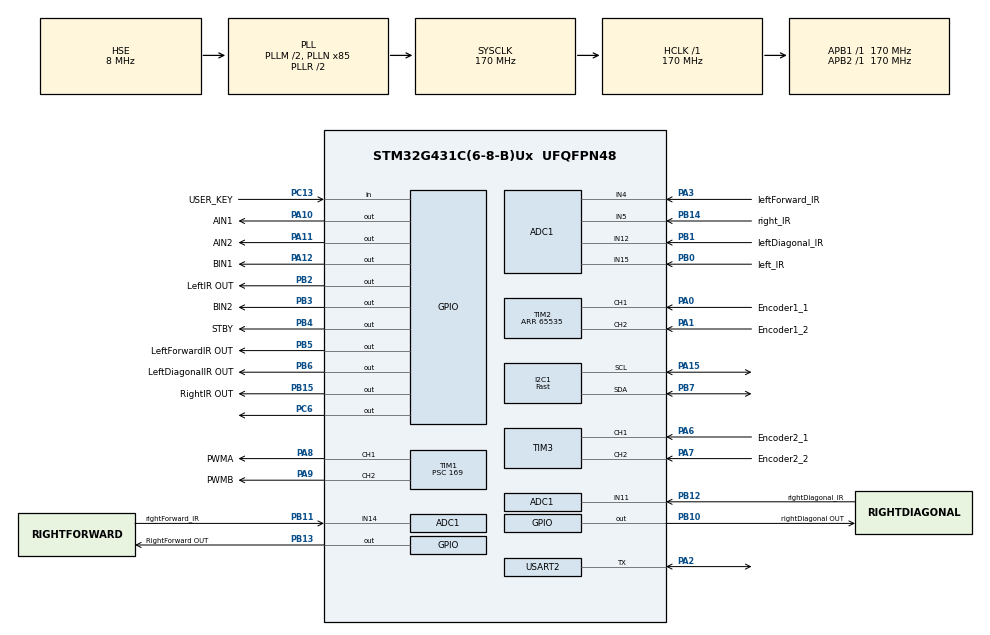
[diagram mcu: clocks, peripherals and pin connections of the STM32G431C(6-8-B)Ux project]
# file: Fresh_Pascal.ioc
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ADC1.Channel-0\#ChannelRegularConversion=ADC_CHANNEL_5
ADC1.NbrOfConversionFlag=1
ADC1.OffsetNumber-0\#ChannelRegularConversion=ADC_OFFSET_NONE
ADC1.OversamplingMode=DISABLE
ADC1.Rank-0\#ChannelRegularConversion=1
ADC1.SamplingTime-0\#ChannelRegularConversion=ADC_SAMPLETIME_47CYCLES_5
ADC1.master=1
I2C1.I2C_Speed_Mode=I2C_Fast
I2C1.Timing=0x40621236
IWDG.Prescaler=IWDG_PRESCALER_32
IWDG.Reload=400
Mcu.Family=STM32G4
Mcu.Name=STM32G431C(6-8-B)Ux
Mcu.Package=UFQFPN48
NVIC.PriorityGroup=NVIC_PRIORITYGROUP_4
NVIC.TIM6_DAC_IRQn=true\:0\:0\:false\:false\:true\:true\:true\:true
PA0.GPIO_Label=Encoder1_1
PA0.GPIO_PuPd=GPIO_PULLDOWN
PA0.Signal=S_TIM2_CH1
PA1.GPIO_Label=Encoder1_2
PA1.GPIO_PuPd=GPIO_PULLDOWN
PA1.Signal=S_TIM2_CH2
PA10.GPIO_Label=AIN1
PA10.Signal=GPIO_Output
PA11.GPIO_Label=AIN2
PA11.Signal=GPIO_Output
PA12.GPIO_Label=BIN1
PA12.Signal=GPIO_Output
PA13.Mode=Serial_Wire
PA13.Signal=SYS_JTMS-SWDIO
PA14.Mode=Serial_Wire
PA14.Signal=SYS_JTCK-SWCLK
PA15.GPIO_Speed=GPIO_SPEED_FREQ_HIGH
PA15.Mode=I2C
PA15.Signal=I2C1_SCL
PA2.Mode=Half_duplex(single_wire_mode)
PA2.Signal=USART2_TX
PA3.GPIO_Label=leftForward_IR
PA3.Mode=IN4-Single-Ended
PA3.Signal=ADC1_IN4
PA6.GPIO_Label=Encoder2_1
PA6.GPIO_PuPd=GPIO_PULLDOWN
PA6.Signal=S_TIM3_CH1
PA7.GPIO_Label=Encoder2_2
PA7.GPIO_PuPd=GPIO_PULLDOWN
PA7.Signal=S_TIM3_CH2
PA8.GPIO_Label=PWMA
PA8.Signal=S_TIM1_CH1
PA9.GPIO_Label=PWMB
PA9.Signal=S_TIM1_CH2
PB0.GPIO_Label=left_IR
PB0.Mode=IN15-Single-Ended
PB0.Signal=ADC1_IN15
PB1.GPIO_Label=leftDiagonal_IR
PB1.Mode=IN12-Single-Ended
PB1.Signal=ADC1_IN12
PB10.GPIO_Label=rightDiagonal OUT
PB10.GPIO_PuPd=GPIO_PULLDOWN
PB10.Signal=GPIO_Output
PB11.GPIO_Label=rightForward_IR
PB11.Mode=IN14-Single-Ended
PB11.Signal=ADC1_IN14
PB12.GPIO_Label=rightDiagonal_IR
PB12.Mode=IN11-Single-Ended
PB12.Signal=ADC1_IN11
PB13.GPIO_Label=RightForward OUT
PB13.GPIO_PuPd=GPIO_PULLDOWN
PB13.Signal=GPIO_Output
PB14.GPIO_Label=right_IR
PB14.Mode=IN5-Single-Ended
PB14.Signal=ADC1_IN5
PB15.GPIO_Label=RightIR OUT
PB15.GPIO_PuPd=GPIO_PULLDOWN
PB15.Signal=GPIO_Output
PB2.GPIO_Label=LeftIR OUT
PB2.GPIO_PuPd=GPIO_PULLDOWN
PB2.Signal=GPIO_Output
PB3.GPIO_Label=BIN2
PB3.Signal=GPIO_Output
PB4.GPIO_Label=STBY
PB4.Signal=GPIO_Output
PB5.GPIO_Label=LeftForwardIR OUT
PB5.GPIO_PuPd=GPIO_PULLDOWN
PB5.Signal=GPIO_Output
PB6.GPIO_Label=LeftDiagonalIR OUT
PB6.GPIO_PuPd=GPIO_PULLDOWN
PB6.Signal=GPIO_Output
PB7.GPIO_Speed=GPIO_SPEED_FREQ_HIGH
PB7.Mode=I2C
PB7.Signal=I2C1_SDA
PC13.GPIO_Label=USER_KEY
PC13.GPIO_PuPd=GPIO_PULLDOWN
PC13.Signal=GPIO_Input
PC6.Signal=GPIO_Output
PF0-OSC_IN.Mode=HSE-External-Oscillator
PF0-OSC_IN.Signal=RCC_OSC_IN
PF1-OSC_OUT.Mode=HSE-External-Oscillator
PF1-OSC_OUT.Signal=RCC_OSC_OUT
ProjectManager.HeapSize=0x200
ProjectManager.StackSize=0x400
ProjectManager.TargetToolchain=STM32CubeIDE
RCC.ADC12Freq_Value=170000000
RCC.AHBFreq_Value=170000000
RCC.APB1Freq_Value=170000000
RCC.APB1TimFreq_Value=170000000
RCC.APB2Freq_Value=170000000
RCC.APB2TimFreq_Value=170000000
RCC.CortexFreq_Value=170000000
RCC.EXTERNAL_CLOCK_VALUE=12288000
RCC.HCLKFreq_Value=170000000
RCC.HSE_VALUE=8000000
RCC.HSI48_VALUE=48000000
RCC.HSI_VALUE=16000000
RCC.LSE_VALUE=32768
RCC.PLLM=RCC_PLLM_DIV2
RCC.PLLN=85
RCC.PLLSourceVirtual=RCC_PLLSOURCE_HSE
RCC.SYSCLKFreq_VALUE=170000000
RCC.SYSCLKSource=RCC_SYSCLKSOURCE_PLLCLK
RCC.USBFreq_Value=170000000
RCC.VCOOutputFreq_Value=340000000
SH.S_TIM1_CH1.0=TIM1_CH1,PWM Generation1 CH1
SH.S_TIM1_CH2.0=TIM1_CH2,PWM Generation2 CH2
SH.S_TIM2_CH1.0=TIM2_CH1,Encoder_Interface
SH.S_TIM2_CH2.0=TIM2_CH2,Encoder_Interface
SH.S_TIM3_CH1.0=TIM3_CH1,Encoder_Interface
SH.S_TIM3_CH2.0=TIM3_CH2,Encoder_Interface
TIM1.Channel-PWM\ Generation1\ CH1=TIM_CHANNEL_1
TIM1.Channel-PWM\ Generation2\ CH2=TIM_CHANNEL_2
TIM1.PeriodNoDither=1000
TIM1.Prescaler=169
TIM2.PeriodNoDither=65535
TIM6.AutoReloadPreload=TIM_AUTORELOAD_PRELOAD_ENABLE
TIM6.PeriodNoDither=1000-1
TIM6.Prescaler=170-1
USART2.VirtualMode-Half_duplex(single_wire_mode)=VM_ASYNC
VP_IWDG_VS_IWDG.Mode=IWDG_Activate
VP_SYS_VS_DBSignals.Mode=DisableDeadBatterySignals
VP_TIM6_VS_ClockSourceINT.Mode=Enable_Timer
board=custom

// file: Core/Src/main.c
/* USER CODE BEGIN Header */
/**
  ******************************************************************************
  * @file           : main.c
  * @brief          : Main program body
  ******************************************************************************
  * @attention
  *
  * Copyright (c) 2026 STMicroelectronics.
  * All rights reserved.
  *
  * This software is licensed under terms that can be found in the LICENSE file
  * in the root directory of this software component.
  * If no LICENSE file comes with this software, it is provided AS-IS.
  *
  ******************************************************************************
  */
/* USER CODE END Header */
#include "main.h"

/* USER CODE BEGIN Includes */
#include "ism330dhcx_i2c.h"
#include "motion.h"
#include "sensors.h"
#include "maze.h"
#include "navigator.h"
#include <stdio.h>
#include "floodfill.h"

/* USER CODE END Includes */

ADC_HandleTypeDef hadc1;

I2C_HandleTypeDef hi2c1;

IWDG_HandleTypeDef hiwdg;

TIM_HandleTypeDef htim1;
TIM_HandleTypeDef htim2;
TIM_HandleTypeDef htim3;
TIM_HandleTypeDef htim6;

UART_HandleTypeDef huart2;

/* USER CODE BEGIN PV */
volatile float pascal_heading = 0.0f;
float gyro_z_bias = 0.0f;

ISM330_Raw_t imu_raw;
ISM330_Phys_t imu_phys;
/* USER CODE END PV */

void SystemClock_Config(void);
static void MX_GPIO_Init(void);
void I2C_Bus_Clear(void);
static void MX_I2C1_Init(void);
static void MX_USART2_UART_Init(void);
static void MX_TIM1_Init(void);
static void MX_TIM2_Init(void);
static void MX_TIM3_Init(void);
static void MX_TIM6_Init(void);
static void MX_ADC1_Init(void);
static void MX_IWDG_Init(void);

/* USER CODE BEGIN 0 */

void Safe_Delay(uint32_t ms) {
    uint32_t start = HAL_GetTick();
    while ((HAL_GetTick() - start) < ms) {
        HAL_IWDG_Refresh(&hiwdg); // Keep Pascal alive!
        HAL_Delay(1);             // Wait 1ms at a time
    }
}

// 1. Enable Microsecond Delay for the IMU Driver
uint32_t DWT_GetMicros(void) {
    return DWT->CYCCNT / (SystemCoreClock / 1000000U);
}

// 2. Route printf() to USART2 (Serial Monitor)
#ifdef __GNUC__
#define PUTCHAR_PROTOTYPE int __io_putchar(int ch)
#else
#define PUTCHAR_PROTOTYPE int fputc(int ch, FILE *f)
#endif

PUTCHAR_PROTOTYPE {
  HAL_UART_Transmit(&huart2, (uint8_t *)&ch, 1, HAL_MAX_DELAY);
  return ch;
}

// 3. Gyro Calibration Routine
void Calibrate_Gyro(void) {
    float bias_sum = 0.0f;
    int samples = 200;

    Safe_Delay(100); // Let sensor stabilize

    for (int i = 0; i < samples; i++) {
        if (ISM330_WaitAndRead(&hi2c1, &imu_raw) == ISM330_OK) {
            ISM330_ToPhysical(&imu_raw, &imu_phys);
            bias_sum += imu_phys.gz;
        }
        Safe_Delay(5); // FIXED: Changed from 100 back to 5
    }
    gyro_z_bias = bias_sum / (float)samples;
}
/* USER CODE END 0 */

int main(void)
{

  /* MCU Configuration--------------------------------------------------------*/

  /* Reset of all peripherals, Initializes the Flash interface and the Systick. */
  HAL_Init();

  /* Configure the system clock */
  SystemClock_Config();

  /* Initialize all configured peripherals */
  MX_GPIO_Init();
  I2C_Bus_Clear();
  MX_I2C1_Init();
  MX_USART2_UART_Init();
  MX_TIM1_Init();
  MX_TIM2_Init();
  MX_TIM3_Init();
  MX_TIM6_Init();
  MX_ADC1_Init();
  MX_IWDG_Init();
  /* USER CODE BEGIN 2 */
  Motion_Init();
  Sensors_Init();
  Maze_Init();

  // Enable the DWT Cycle Counter hardware (Required for IMU driver)
  CoreDebug->DEMCR |= CoreDebug_DEMCR_TRCENA_Msk;
  DWT->CYCCNT = 0;
  DWT->CTRL |= DWT_CTRL_CYCCNTENA_Msk;

  // Initialize IMU
  if (ISM330_Init(&hi2c1) != ISM330_OK) {
      printf("IMU Init Failed!\r\n");
      while(1); // Halt if sensor is dead
  }

//  printf("Calibrating Gyro... Do not move Pascal!\r\n");
//  Calibrate_Gyro();
//  printf("Calibration Done. Bias: %.2f\r\n", gyro_z_bias);
//
//  // Start the 1kHz Fast Loop (TIM6)
//  HAL_TIM_Base_Start_IT(&htim6);

  /* USER CODE END 2 */

  /* Infinite loop */
  /* USER CODE BEGIN WHILE */
    while (1)
    {

  	        // --- MODE 1: IDLE / WAITING FOR USER ---
  	        printf("\n--- PASCAL READY ---\n");
  	        printf("1. Click KEY once to Calibrate Gyro & IR\n");

  	        // REFRESH WATCHDOG
  	        HAL_IWDG_Refresh(&hiwdg);

  	        // Wait for KEY button to be PRESSED (Logic goes HIGH/SET)
  	        while(HAL_GPIO_ReadPin(GPIOC, GPIO_PIN_13) == GPIO_PIN_RESET) {
  	        	HAL_IWDG_Refresh(&hiwdg);
  	            HAL_Delay(10);
  	        }

  	        // Wait for KEY button to be RELEASED (Logic drops back to LOW/RESET)
  	        while(HAL_GPIO_ReadPin(GPIOC, GPIO_PIN_13) == GPIO_PIN_SET) {
  	        	HAL_IWDG_Refresh(&hiwdg);
  	            HAL_Delay(10);
  	        }
  	        HAL_Delay(50); // Small debounce safety

  	        // --- MODE 2: CALIBRATION ---
  	        printf("CALIBRATING... Keep Pascal still!\r\n");
  	        Calibrate_Gyro(); // Gyro calibrates BEFORE TIM6 starts to avoid I2C noise

  	        printf("Stand clear! Commencing Calibration Dance...\r\n");
  	        Safe_Delay(1000); // 1-second warning to move your hand away

              // START TIM6 NOW. It will pulse the sensors safely forever.
  	        HAL_TIM_Base_Start_IT(&htim6);

            Navigator_Auto_Calibrate();

              // REMOVED: HAL_TIM_Base_Stop_IT(&htim6);
              // We want it to keep running so the LEDs don't get hot!

  	        printf("CALIBRATION DONE.\r\n");

              // Print the final exam results!
            IR_Print_Calibration_Data();

  	        printf("Click KEY again to START RACE!\r\n");

  	        // Wait for second KEY press to start the run (Logic goes HIGH/SET)
  	        while(HAL_GPIO_ReadPin(GPIOC, GPIO_PIN_13) == GPIO_PIN_RESET) {
  	            HAL_IWDG_Refresh(&hiwdg); // FIXED: Added missing refresh
  	            HAL_Delay(10);
  	        }

  	        // Wait for release before taking off
  	        while(HAL_GPIO_ReadPin(GPIOC, GPIO_PIN_13) == GPIO_PIN_SET) {
  	            HAL_IWDG_Refresh(&hiwdg); // FIXED: Added missing refresh
  	            HAL_Delay(10);
  	        }

  	        printf("GO!\r\n");

  	      // HARD RESET EVERYTHING RIGHT BEFORE MOVING
  	      Maze_Init();
  	      Motion_Init();
  	      Floodfill_Recalculate();

  	      Safe_Delay(500); // Give user time to pull hand away

  	      // --- MODE 3: THE RUN ---
  	      while (1)
  	      {
  	          HAL_IWDG_Refresh(&hiwdg); // Pet the dog every cell

  	          // REPLACE LeftWallFollow with your solver:
  	          Navigator_Solve_Step();

  	          // 1. EMERGENCY STOP CHECK
  	          if (HAL_GPIO_ReadPin(GPIOC, GPIO_PIN_13) == GPIO_PIN_SET) {
  	              pascal.state = STATE_IDLE;
  	              printf("EMERGENCY STOP TRIGGERED\n");
  	              break; // Exits the run loop
  	          }

  	        // 3. THE VICTORY CHECK
  	                  if (dist[pascal_x][pascal_y] == 0) {
  	                      pascal.state = STATE_IDLE;
  	                      pascal.base_speed = 0;

  	                      printf("\n==================================\n");
  	                      printf("🏆 TARGET REACHED! SAVING PATH! 🏆\n");
  	                      printf("==================================\n");

  	                      // 1. Blink for 5 seconds
  	                      uint32_t start_time = HAL_GetTick();
  	                      while ((HAL_GetTick() - start_time) < 5000) {
  	                          HAL_IWDG_Refresh(&hiwdg);
  	                          HAL_GPIO_TogglePin(GPIOC, GPIO_PIN_6);
  	                          Safe_Delay(100);
  	                      }

  	                      // 2. Keep ON for 3 seconds
  	                      HAL_GPIO_WritePin(GPIOC, GPIO_PIN_6, GPIO_PIN_SET);
  	                      Safe_Delay(3000);
  	                      HAL_GPIO_WritePin(GPIOC, GPIO_PIN_6, GPIO_PIN_RESET); // Turn off

  	                      printf("\n--- READY FOR SPEED RUN ---\n");
  	                      printf("1. Place Pascal back at the Start (0,0) facing NORTH.\n");
  	                      printf("2. Press the USER KEY to launch!\n");

  	                      // 3. Wait for USER KEY to be Pressed
  	                      while(HAL_GPIO_ReadPin(GPIOC, GPIO_PIN_13) == GPIO_PIN_RESET) {
  	                          HAL_IWDG_Refresh(&hiwdg);
  	                          HAL_Delay(10);
  	                      }
  	                      // Wait for release
  	                      while(HAL_GPIO_ReadPin(GPIOC, GPIO_PIN_13) == GPIO_PIN_SET) {
  	                          HAL_IWDG_Refresh(&hiwdg);
  	                          HAL_Delay(10);
  	                      }

  	                      printf("🚀 3... 2... 1... GO! 🚀\n");
  	                      Safe_Delay(500); // Small delay to get your hand out of the way

  	                      // 4. EXECUTE THE CONTINUOUS SPEED RUN
  	                      Navigator_Final_Run();

  	                      // 5. Ultimate Victory Celebration
  	                      printf("\n==================================\n");
  	                      printf("🏆 SPEED RUN COMPLETE! 🏆\n");
  	                      printf("==================================\n");
  	                      while(1) {
  	                          HAL_IWDG_Refresh(&hiwdg);
  	                          HAL_GPIO_TogglePin(GPIOC, GPIO_PIN_6);
  	                          Safe_Delay(500);
  	                      }
  	                  }
  	     }
    /* USER CODE END WHILE */

    }
}

void SystemClock_Config(void)
{
  RCC_OscInitTypeDef RCC_OscInitStruct = {0};
  RCC_ClkInitTypeDef RCC_ClkInitStruct = {0};

  /** Configure the main internal regulator output voltage
  */
  HAL_PWREx_ControlVoltageScaling(PWR_REGULATOR_VOLTAGE_SCALE1_BOOST);

  /** Initializes the RCC Oscillators according to the specified parameters
  * in the RCC_OscInitTypeDef structure.
  */
  RCC_OscInitStruct.OscillatorType = RCC_OSCILLATORTYPE_LSI|RCC_OSCILLATORTYPE_HSE;
  RCC_OscInitStruct.HSEState = RCC_HSE_ON;
  RCC_OscInitStruct.LSIState = RCC_LSI_ON;
  RCC_OscInitStruct.PLL.PLLState = RCC_PLL_ON;
  RCC_OscInitStruct.PLL.PLLSource = RCC_PLLSOURCE_HSE;
  RCC_OscInitStruct.PLL.PLLM = RCC_PLLM_DIV2;
  RCC_OscInitStruct.PLL.PLLN = 85;
  RCC_OscInitStruct.PLL.PLLP = RCC_PLLP_DIV2;
  RCC_OscInitStruct.PLL.PLLQ = RCC_PLLQ_DIV2;
  RCC_OscInitStruct.PLL.PLLR = RCC_PLLR_DIV2;
  if (HAL_RCC_OscConfig(&RCC_OscInitStruct) != HAL_OK)
  {
    Error_Handler();
  }

  /** Initializes the CPU, AHB and APB buses clocks
  */
  RCC_ClkInitStruct.ClockType = RCC_CLOCKTYPE_HCLK|RCC_CLOCKTYPE_SYSCLK
                              |RCC_CLOCKTYPE_PCLK1|RCC_CLOCKTYPE_PCLK2;
  RCC_ClkInitStruct.SYSCLKSource = RCC_SYSCLKSOURCE_PLLCLK;
  RCC_ClkInitStruct.AHBCLKDivider = RCC_SYSCLK_DIV1;
  RCC_ClkInitStruct.APB1CLKDivider = RCC_HCLK_DIV1;
  RCC_ClkInitStruct.APB2CLKDivider = RCC_HCLK_DIV1;

  if (HAL_RCC_ClockConfig(&RCC_ClkInitStruct, FLASH_LATENCY_4) != HAL_OK)
  {
    Error_Handler();
  }
}

static void MX_ADC1_Init(void)
{

  ADC_MultiModeTypeDef multimode = {0};
  ADC_ChannelConfTypeDef sConfig = {0};

  /** Common config
  */
  hadc1.Instance = ADC1;
  hadc1.Init.ClockPrescaler = ADC_CLOCK_SYNC_PCLK_DIV4;
  hadc1.Init.Resolution = ADC_RESOLUTION_12B;
  hadc1.Init.DataAlign = ADC_DATAALIGN_RIGHT;
  hadc1.Init.GainCompensation = 0;
  hadc1.Init.ScanConvMode = ADC_SCAN_DISABLE;
  hadc1.Init.EOCSelection = ADC_EOC_SINGLE_CONV;
  hadc1.Init.LowPowerAutoWait = DISABLE;
  hadc1.Init.ContinuousConvMode = DISABLE;
  hadc1.Init.NbrOfConversion = 1;
  hadc1.Init.DiscontinuousConvMode = DISABLE;
  hadc1.Init.ExternalTrigConv = ADC_SOFTWARE_START;
  hadc1.Init.ExternalTrigConvEdge = ADC_EXTERNALTRIGCONVEDGE_NONE;
  hadc1.Init.DMAContinuousRequests = DISABLE;
  hadc1.Init.Overrun = ADC_OVR_DATA_PRESERVED;
  hadc1.Init.OversamplingMode = DISABLE;
  if (HAL_ADC_Init(&hadc1) != HAL_OK)
  {
    Error_Handler();
  }

  /** Configure the ADC multi-mode
  */
  multimode.Mode = ADC_MODE_INDEPENDENT;
  if (HAL_ADCEx_MultiModeConfigChannel(&hadc1, &multimode) != HAL_OK)
  {
    Error_Handler();
  }

  /** Configure Regular Channel
  */
  sConfig.Channel = ADC_CHANNEL_5;
  sConfig.Rank = ADC_REGULAR_RANK_1;
  sConfig.SamplingTime = ADC_SAMPLETIME_47CYCLES_5;
  sConfig.SingleDiff = ADC_SINGLE_ENDED;
  sConfig.OffsetNumber = ADC_OFFSET_NONE;
  sConfig.Offset = 0;
  if (HAL_ADC_ConfigChannel(&hadc1, &sConfig) != HAL_OK)
  {
    Error_Handler();
  }

}

void I2C_Bus_Clear(void) {
    GPIO_InitTypeDef GPIO_InitStruct = {0};

    // 1. Manually configure SCL and SDA as Outputs
    __HAL_RCC_GPIOB_CLK_ENABLE(); // Your I2C is on GPIOB
    GPIO_InitStruct.Pin = GPIO_PIN_8 | GPIO_PIN_9; // SCL=PB8, SDA=PB9
    GPIO_InitStruct.Mode = GPIO_MODE_OUTPUT_OD;
    GPIO_InitStruct.Pull = GPIO_PULLUP;
    GPIO_InitStruct.Speed = GPIO_SPEED_FREQ_VERY_HIGH;
    HAL_GPIO_Init(GPIOB, &GPIO_InitStruct);

    // 2. Toggle SCL 9 times
    // This tells any "hung" slave to finish its current byte and release SDA
    for (int i = 0; i < 9; i++) {
        HAL_GPIO_WritePin(GPIOB, GPIO_PIN_8, GPIO_PIN_RESET);
        HAL_Delay(1);
        HAL_GPIO_WritePin(GPIOB, GPIO_PIN_8, GPIO_PIN_SET);
        HAL_Delay(1);
    }

    // 3. Reset the pins to let the I2C peripheral take over
    HAL_GPIO_DeInit(GPIOB, GPIO_PIN_8 | GPIO_PIN_9);
}

static void MX_I2C1_Init(void)
{

  hi2c1.Instance = I2C1;
  hi2c1.Init.Timing = 0x40621236;
  hi2c1.Init.OwnAddress1 = 0;
  hi2c1.Init.AddressingMode = I2C_ADDRESSINGMODE_7BIT;
  hi2c1.Init.DualAddressMode = I2C_DUALADDRESS_DISABLE;
  hi2c1.Init.OwnAddress2 = 0;
  hi2c1.Init.OwnAddress2Masks = I2C_OA2_NOMASK;
  hi2c1.Init.GeneralCallMode = I2C_GENERALCALL_DISABLE;
  hi2c1.Init.NoStretchMode = I2C_NOSTRETCH_DISABLE;
  if (HAL_I2C_Init(&hi2c1) != HAL_OK)
  {
    Error_Handler();
  }

  /** Configure Analogue filter
  */
  if (HAL_I2CEx_ConfigAnalogFilter(&hi2c1, I2C_ANALOGFILTER_ENABLE) != HAL_OK)
  {
    Error_Handler();
  }

  /** Configure Digital filter
  */
  if (HAL_I2CEx_ConfigDigitalFilter(&hi2c1, 0) != HAL_OK)
  {
    Error_Handler();
  }

}

static void MX_IWDG_Init(void)
{

  hiwdg.Instance = IWDG;
  hiwdg.Init.Prescaler = IWDG_PRESCALER_32;
  hiwdg.Init.Window = 4095;
  hiwdg.Init.Reload = 400;
  if (HAL_IWDG_Init(&hiwdg) != HAL_OK)
  {
    Error_Handler();
  }

}

static void MX_TIM1_Init(void)
{

  TIM_MasterConfigTypeDef sMasterConfig = {0};
  TIM_OC_InitTypeDef sConfigOC = {0};
  TIM_BreakDeadTimeConfigTypeDef sBreakDeadTimeConfig = {0};

  htim1.Instance = TIM1;
  htim1.Init.Prescaler = 169;
  htim1.Init.CounterMode = TIM_COUNTERMODE_UP;
  htim1.Init.Period = 1000;
  htim1.Init.ClockDivision = TIM_CLOCKDIVISION_DIV1;
  htim1.Init.RepetitionCounter = 0;
  htim1.Init.AutoReloadPreload = TIM_AUTORELOAD_PRELOAD_DISABLE;
  if (HAL_TIM_PWM_Init(&htim1) != HAL_OK)
  {
    Error_Handler();
  }
  sMasterConfig.MasterOutputTrigger = TIM_TRGO_RESET;
  sMasterConfig.MasterOutputTrigger2 = TIM_TRGO2_RESET;
  sMasterConfig.MasterSlaveMode = TIM_MASTERSLAVEMODE_DISABLE;
  if (HAL_TIMEx_MasterConfigSynchronization(&htim1, &sMasterConfig) != HAL_OK)
  {
    Error_Handler();
  }
  sConfigOC.OCMode = TIM_OCMODE_PWM1;
  sConfigOC.Pulse = 0;
  sConfigOC.OCPolarity = TIM_OCPOLARITY_HIGH;
  sConfigOC.OCNPolarity = TIM_OCNPOLARITY_HIGH;
  sConfigOC.OCFastMode = TIM_OCFAST_DISABLE;
  sConfigOC.OCIdleState = TIM_OCIDLESTATE_RESET;
  sConfigOC.OCNIdleState = TIM_OCNIDLESTATE_RESET;
  if (HAL_TIM_PWM_ConfigChannel(&htim1, &sConfigOC, TIM_CHANNEL_1) != HAL_OK)
  {
    Error_Handler();
  }
  if (HAL_TIM_PWM_ConfigChannel(&htim1, &sConfigOC, TIM_CHANNEL_2) != HAL_OK)
  {
    Error_Handler();
  }
  sBreakDeadTimeConfig.OffStateRunMode = TIM_OSSR_DISABLE;
  sBreakDeadTimeConfig.OffStateIDLEMode = TIM_OSSI_DISABLE;
  sBreakDeadTimeConfig.LockLevel = TIM_LOCKLEVEL_OFF;
  sBreakDeadTimeConfig.DeadTime = 0;
  sBreakDeadTimeConfig.BreakState = TIM_BREAK_DISABLE;
  sBreakDeadTimeConfig.BreakPolarity = TIM_BREAKPOLARITY_HIGH;
  sBreakDeadTimeConfig.BreakFilter = 0;
  sBreakDeadTimeConfig.BreakAFMode = TIM_BREAK_AFMODE_INPUT;
  sBreakDeadTimeConfig.Break2State = TIM_BREAK2_DISABLE;
  sBreakDeadTimeConfig.Break2Polarity = TIM_BREAK2POLARITY_HIGH;
  sBreakDeadTimeConfig.Break2Filter = 0;
  sBreakDeadTimeConfig.Break2AFMode = TIM_BREAK_AFMODE_INPUT;
  sBreakDeadTimeConfig.AutomaticOutput = TIM_AUTOMATICOUTPUT_DISABLE;
  if (HAL_TIMEx_ConfigBreakDeadTime(&htim1, &sBreakDeadTimeConfig) != HAL_OK)
  {
    Error_Handler();
  }
  HAL_TIM_MspPostInit(&htim1);

}

static void MX_TIM2_Init(void)
{

  TIM_Encoder_InitTypeDef sConfig = {0};
  TIM_MasterConfigTypeDef sMasterConfig = {0};

  htim2.Instance = TIM2;
  htim2.Init.Prescaler = 0;
  htim2.Init.CounterMode = TIM_COUNTERMODE_UP;
  htim2.Init.Period = 65535;
  htim2.Init.ClockDivision = TIM_CLOCKDIVISION_DIV1;
  htim2.Init.AutoReloadPreload = TIM_AUTORELOAD_PRELOAD_DISABLE;
  sConfig.EncoderMode = TIM_ENCODERMODE_TI1;
  sConfig.IC1Polarity = TIM_ICPOLARITY_RISING;
  sConfig.IC1Selection = TIM_ICSELECTION_DIRECTTI;
  sConfig.IC1Prescaler = TIM_ICPSC_DIV1;
  sConfig.IC1Filter = 0;
  sConfig.IC2Polarity = TIM_ICPOLARITY_RISING;
  sConfig.IC2Selection = TIM_ICSELECTION_DIRECTTI;
  sConfig.IC2Prescaler = TIM_ICPSC_DIV1;
  sConfig.IC2Filter = 0;
  if (HAL_TIM_Encoder_Init(&htim2, &sConfig) != HAL_OK)
  {
    Error_Handler();
  }
  sMasterConfig.MasterOutputTrigger = TIM_TRGO_RESET;
  sMasterConfig.MasterSlaveMode = TIM_MASTERSLAVEMODE_DISABLE;
  if (HAL_TIMEx_MasterConfigSynchronization(&htim2, &sMasterConfig) != HAL_OK)
  {
    Error_Handler();
  }

}

static void MX_TIM3_Init(void)
{

  TIM_Encoder_InitTypeDef sConfig = {0};
  TIM_MasterConfigTypeDef sMasterConfig = {0};

  htim3.Instance = TIM3;
  htim3.Init.Prescaler = 0;
  htim3.Init.CounterMode = TIM_COUNTERMODE_UP;
  htim3.Init.Period = 65535;
  htim3.Init.ClockDivision = TIM_CLOCKDIVISION_DIV1;
  htim3.Init.AutoReloadPreload = TIM_AUTORELOAD_PRELOAD_DISABLE;
  sConfig.EncoderMode = TIM_ENCODERMODE_TI1;
  sConfig.IC1Polarity = TIM_ICPOLARITY_RISING;
  sConfig.IC1Selection = TIM_ICSELECTION_DIRECTTI;
  sConfig.IC1Prescaler = TIM_ICPSC_DIV1;
  sConfig.IC1Filter = 0;
  sConfig.IC2Polarity = TIM_ICPOLARITY_RISING;
  sConfig.IC2Selection = TIM_ICSELECTION_DIRECTTI;
  sConfig.IC2Prescaler = TIM_ICPSC_DIV1;
  sConfig.IC2Filter = 0;
  if (HAL_TIM_Encoder_Init(&htim3, &sConfig) != HAL_OK)
  {
    Error_Handler();
  }
  sMasterConfig.MasterOutputTrigger = TIM_TRGO_RESET;
  sMasterConfig.MasterSlaveMode = TIM_MASTERSLAVEMODE_DISABLE;
  if (HAL_TIMEx_MasterConfigSynchronization(&htim3, &sMasterConfig) != HAL_OK)
  {
    Error_Handler();
  }

}

static void MX_TIM6_Init(void)
{

  TIM_MasterConfigTypeDef sMasterConfig = {0};

  htim6.Instance = TIM6;
  htim6.Init.Prescaler = 170-1;
  htim6.Init.CounterMode = TIM_COUNTERMODE_UP;
  htim6.Init.Period = 999;
  htim6.Init.AutoReloadPreload = TIM_AUTORELOAD_PRELOAD_ENABLE;
  if (HAL_TIM_Base_Init(&htim6) != HAL_OK)
  {
    Error_Handler();
  }
  sMasterConfig.MasterOutputTrigger = TIM_TRGO_RESET;
  sMasterConfig.MasterSlaveMode = TIM_MASTERSLAVEMODE_DISABLE;
  if (HAL_TIMEx_MasterConfigSynchronization(&htim6, &sMasterConfig) != HAL_OK)
  {
    Error_Handler();
  }

}

static void MX_USART2_UART_Init(void)
{

  huart2.Instance = USART2;
  huart2.Init.BaudRate = 115200;
  huart2.Init.WordLength = UART_WORDLENGTH_8B;
  huart2.Init.StopBits = UART_STOPBITS_1;
  huart2.Init.Parity = UART_PARITY_NONE;
  huart2.Init.Mode = UART_MODE_TX_RX;
  huart2.Init.HwFlowCtl = UART_HWCONTROL_NONE;
  huart2.Init.OverSampling = UART_OVERSAMPLING_16;
  huart2.Init.OneBitSampling = UART_ONE_BIT_SAMPLE_DISABLE;
  huart2.Init.ClockPrescaler = UART_PRESCALER_DIV1;
  huart2.AdvancedInit.AdvFeatureInit = UART_ADVFEATURE_NO_INIT;
  if (HAL_HalfDuplex_Init(&huart2) != HAL_OK)
  {
    Error_Handler();
  }
  if (HAL_UARTEx_SetTxFifoThreshold(&huart2, UART_TXFIFO_THRESHOLD_1_8) != HAL_OK)
  {
    Error_Handler();
  }
  if (HAL_UARTEx_SetRxFifoThreshold(&huart2, UART_RXFIFO_THRESHOLD_1_8) != HAL_OK)
  {
    Error_Handler();
  }
  if (HAL_UARTEx_DisableFifoMode(&huart2) != HAL_OK)
  {
    Error_Handler();
  }

}

static void MX_GPIO_Init(void)
{
  GPIO_InitTypeDef GPIO_InitStruct = {0};

  /* GPIO Ports Clock Enable */
  __HAL_RCC_GPIOC_CLK_ENABLE();
  __HAL_RCC_GPIOF_CLK_ENABLE();
  __HAL_RCC_GPIOA_CLK_ENABLE();
  __HAL_RCC_GPIOB_CLK_ENABLE();

  /*Configure GPIO pin Output Level */
  HAL_GPIO_WritePin(GPIOB, LeftIR_OUT_Pin|rightDiagonal_OUT_Pin|RightForward_OUT_Pin|RightIR_OUT_Pin
                          |BIN2_Pin|STBY_Pin|LeftForwardIR_OUT_Pin|LeftDiagonalIR_OUT_Pin, GPIO_PIN_RESET);

  /*Configure GPIO pin Output Level */
  HAL_GPIO_WritePin(GPIOC, GPIO_PIN_6, GPIO_PIN_RESET);

  /*Configure GPIO pin Output Level */
  HAL_GPIO_WritePin(GPIOA, AIN1_Pin|AIN2_Pin|BIN1_Pin, GPIO_PIN_RESET);

  /*Configure GPIO pin : USER_KEY_Pin */
  GPIO_InitStruct.Pin = USER_KEY_Pin;
  GPIO_InitStruct.Mode = GPIO_MODE_INPUT;
  GPIO_InitStruct.Pull = GPIO_PULLDOWN;
  HAL_GPIO_Init(USER_KEY_GPIO_Port, &GPIO_InitStruct);

  /*Configure GPIO pins : LeftIR_OUT_Pin rightDiagonal_OUT_Pin RightForward_OUT_Pin RightIR_OUT_Pin
                           LeftForwardIR_OUT_Pin LeftDiagonalIR_OUT_Pin */
  GPIO_InitStruct.Pin = LeftIR_OUT_Pin|rightDiagonal_OUT_Pin|RightForward_OUT_Pin|RightIR_OUT_Pin
                          |LeftForwardIR_OUT_Pin|LeftDiagonalIR_OUT_Pin;
  GPIO_InitStruct.Mode = GPIO_MODE_OUTPUT_PP;
  GPIO_InitStruct.Pull = GPIO_PULLDOWN;
  GPIO_InitStruct.Speed = GPIO_SPEED_FREQ_LOW;
  HAL_GPIO_Init(GPIOB, &GPIO_InitStruct);

  /*Configure GPIO pin : PC6 */
  GPIO_InitStruct.Pin = GPIO_PIN_6;
  GPIO_InitStruct.Mode = GPIO_MODE_OUTPUT_PP;
  GPIO_InitStruct.Pull = GPIO_NOPULL;
  GPIO_InitStruct.Speed = GPIO_SPEED_FREQ_LOW;
  HAL_GPIO_Init(GPIOC, &GPIO_InitStruct);

  /*Configure GPIO pins : AIN1_Pin AIN2_Pin BIN1_Pin */
  GPIO_InitStruct.Pin = AIN1_Pin|AIN2_Pin|BIN1_Pin;
  GPIO_InitStruct.Mode = GPIO_MODE_OUTPUT_PP;
  GPIO_InitStruct.Pull = GPIO_NOPULL;
  GPIO_InitStruct.Speed = GPIO_SPEED_FREQ_LOW;
  HAL_GPIO_Init(GPIOA, &GPIO_InitStruct);

  /*Configure GPIO pins : BIN2_Pin STBY_Pin */
  GPIO_InitStruct.Pin = BIN2_Pin|STBY_Pin;
  GPIO_InitStruct.Mode = GPIO_MODE_OUTPUT_PP;
  GPIO_InitStruct.Pull = GPIO_NOPULL;
  GPIO_InitStruct.Speed = GPIO_SPEED_FREQ_LOW;
  HAL_GPIO_Init(GPIOB, &GPIO_InitStruct);

}

/* USER CODE BEGIN 4 */

// This fires exactly every 1ms (1kHz)
void HAL_TIM_PeriodElapsedCallback(TIM_HandleTypeDef *htim) {
    if (htim->Instance == TIM6) {
        // Use a failed-read counter for extra safety
        static int i2c_fail_count = 0;

        // 1. Read IMU (Attempt update)
        // We use a non-blocking check or a very short timeout
        if (ISM330_ReadRaw(&hi2c1, &imu_raw) == ISM330_OK) {
            ISM330_ToPhysical(&imu_raw, &imu_phys);
            pascal.current_heading += ((imu_phys.gz - gyro_z_bias) * 0.001f);
            i2c_fail_count = 0;
        } else {
            i2c_fail_count++;
        }

        // EMERGENCY: If I2C is dead for 50ms, stop motors
        if (i2c_fail_count > 50) {
            pascal.state = STATE_IDLE;
        }

        Update_Encoders();
        Sensors_Update_ISR();
        Run_Motion_Control_Loop();
    }
}

/* USER CODE END 4 */

void Error_Handler(void)
{
  __disable_irq();
  while (1)
  {
  }
}
